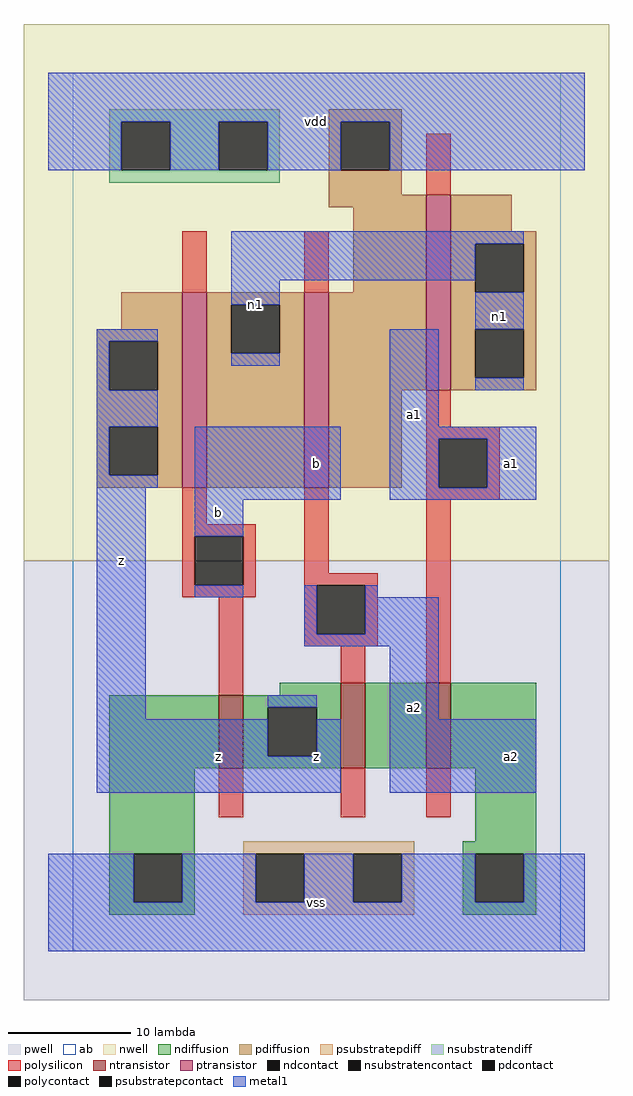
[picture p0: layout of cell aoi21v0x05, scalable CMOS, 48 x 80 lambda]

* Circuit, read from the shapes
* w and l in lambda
.subckt aoi21v0x05 a1 a2 b n1 vdd vss z
M1 z b vss vss nfet w=6 l=2
M2 n2 a2 z vss nfet w=7 l=2
M3 vss a1 n2 vss nfet w=7 l=2
M4 n1 b z vdd pfet w=16 l=2
M5 vdd a2 n1 vdd pfet w=16 l=2
M6 n1 a1 vdd vdd pfet w=16 l=2
.ends

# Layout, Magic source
magic
tech scmos
<< ab >>
rect 0 0 40 72
<< pwell >>
rect -4 -4 44 32
<< nwell >>
rect -4 32 44 76
<< polysilicon >>
rect 29 62 31 67
rect 9 54 11 59
rect 19 54 21 59
rect 29 43 31 46
rect 29 42 35 43
rect 29 38 30 42
rect 34 38 35 42
rect 9 35 11 38
rect 9 34 15 35
rect 9 30 10 34
rect 14 30 15 34
rect 9 29 15 30
rect 19 31 21 38
rect 29 37 35 38
rect 19 30 25 31
rect 12 21 14 29
rect 19 26 20 30
rect 24 26 25 30
rect 19 25 25 26
rect 22 22 24 25
rect 29 22 31 37
rect 12 11 14 15
rect 22 11 24 15
rect 29 11 31 15
<< ndiffusion >>
rect 17 21 22 22
rect 3 15 12 21
rect 14 20 22 21
rect 14 16 16 20
rect 20 16 22 20
rect 14 15 22 16
rect 24 15 29 22
rect 31 15 38 22
rect 3 8 10 15
rect 33 9 38 15
rect 3 4 5 8
rect 9 4 10 8
rect 3 3 10 4
rect 32 8 38 9
rect 32 4 33 8
rect 37 4 38 8
rect 32 3 38 4
<< pdiffusion >>
rect 21 68 27 69
rect 21 64 22 68
rect 26 64 27 68
rect 21 62 27 64
rect 21 61 29 62
rect 23 54 29 61
rect 4 51 9 54
rect 2 50 9 51
rect 2 46 3 50
rect 7 46 9 50
rect 2 43 9 46
rect 2 39 3 43
rect 7 39 9 43
rect 2 38 9 39
rect 11 53 19 54
rect 11 49 13 53
rect 17 49 19 53
rect 11 38 19 49
rect 21 46 29 54
rect 31 59 36 62
rect 31 58 38 59
rect 31 54 33 58
rect 37 54 38 58
rect 31 51 38 54
rect 31 47 33 51
rect 37 47 38 51
rect 31 46 38 47
rect 21 38 27 46
<< metal1 >>
rect -2 68 42 72
rect -2 64 4 68
rect 8 64 12 68
rect 16 64 22 68
rect 26 64 42 68
rect 13 58 37 59
rect 13 55 33 58
rect 13 53 17 55
rect 2 50 7 51
rect 2 46 3 50
rect 33 51 37 54
rect 13 48 17 49
rect 2 43 7 46
rect 26 43 30 51
rect 33 46 37 47
rect 2 39 3 43
rect 2 38 7 39
rect 2 19 6 38
rect 10 37 22 43
rect 26 42 38 43
rect 26 38 30 42
rect 34 38 38 42
rect 26 37 38 38
rect 10 34 14 37
rect 10 29 14 30
rect 19 26 20 30
rect 24 29 25 30
rect 24 26 30 29
rect 19 25 30 26
rect 16 20 20 21
rect 2 16 16 19
rect 26 19 30 25
rect 20 16 22 19
rect 2 13 22 16
rect 26 13 38 19
rect -2 4 5 8
rect 9 4 15 8
rect 19 4 23 8
rect 27 4 33 8
rect 37 4 42 8
rect -2 0 42 4
<< ntransistor >>
rect 12 15 14 21
rect 22 15 24 22
rect 29 15 31 22
<< ptransistor >>
rect 9 38 11 54
rect 19 38 21 54
rect 29 46 31 62
<< polycontact >>
rect 30 38 34 42
rect 10 30 14 34
rect 20 26 24 30
<< ndcontact >>
rect 16 16 20 20
rect 5 4 9 8
rect 33 4 37 8
<< pdcontact >>
rect 22 64 26 68
rect 3 46 7 50
rect 3 39 7 43
rect 13 49 17 53
rect 33 54 37 58
rect 33 47 37 51
<< psubstratepcontact >>
rect 15 4 19 8
rect 23 4 27 8
<< nsubstratencontact >>
rect 4 64 8 68
rect 12 64 16 68
<< psubstratepdiff >>
rect 14 8 28 9
rect 14 4 15 8
rect 19 4 23 8
rect 27 4 28 8
rect 14 3 28 4
<< nsubstratendiff >>
rect 3 68 17 69
rect 3 64 4 68
rect 8 64 12 68
rect 16 64 17 68
rect 3 63 17 64
<< labels >>
rlabel metal1 4 32 4 32 6 z
rlabel metal1 12 16 12 16 6 z
rlabel metal1 12 36 12 36 6 b
rlabel metal1 15 53 15 53 6 n1
rlabel metal1 20 4 20 4 6 vss
rlabel metal1 28 20 28 20 6 a2
rlabel metal1 20 16 20 16 6 z
rlabel metal1 20 40 20 40 6 b
rlabel metal1 28 44 28 44 6 a1
rlabel metal1 20 68 20 68 6 vdd
rlabel metal1 36 16 36 16 6 a2
rlabel metal1 36 40 36 40 6 a1
rlabel metal1 35 52 35 52 6 n1
<< end >>
